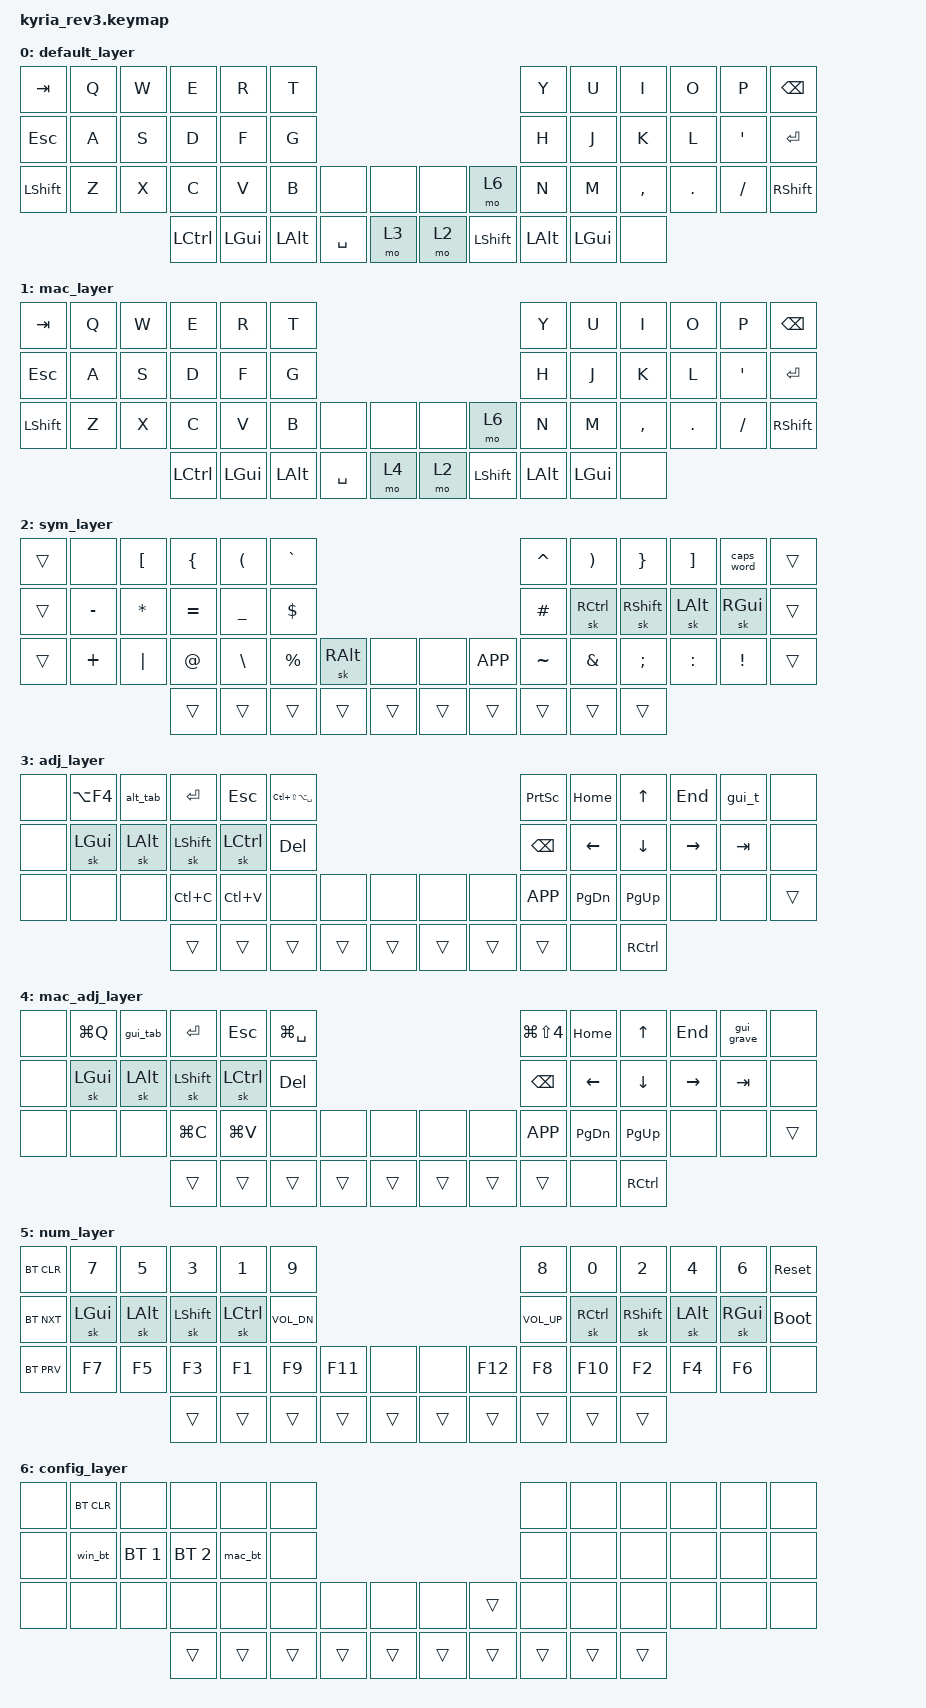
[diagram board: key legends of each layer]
/*
 * Copyright (c) 2023 The ZMK Contributors
 *
 * SPDX-License-Identifier: MIT
 */

#include <behaviors.dtsi>
#include <dt-bindings/zmk/bt.h>
#include <dt-bindings/zmk/keys.h>

#define SPOT LC(LS(LA(SPACE)))

// Uncomment this block if using RGB
// &led_strip {
//     chain-length = <6>;
//     // chain-length = <31>; // Uncomment if using both per-key and underglow LEDs
//     // chain-length = <25>; // Uncomment if using only per-key LEDs.
// };

/ {
    behaviors {
        // Swapper for smart alt+tab
        alt_tab: alt_tab {
            compatible = "zmk,behavior-smart-toggle";
            #binding-cells = <0>;
            bindings = <&kp LALT>, <&kp TAB>;
            ignored-key-positions = <8 19 20 21 46>;
        };
        gui_t: gui_t {
            compatible = "zmk,behavior-smart-toggle";
            #binding-cells = <0>;
            bindings = <&kp LGUI>, <&kp T>;
            ignored-key-positions = <8 19 20 21 46>;
        };
        gui_tab: gui_tab {
            compatible = "zmk,behavior-smart-toggle";
            #binding-cells = <0>;
            bindings = <&kp LGUI>, <&kp TAB>;
            ignored-key-positions = <8 19 20 21 46>;
        };
        gui_grave: gui_grave {
            compatible = "zmk,behavior-smart-toggle";
            #binding-cells = <0>;
            bindings = <&kp LGUI>, <&kp GRAVE>;
            ignored-key-positions = <8 19 20 21 46>;
        };
    };

    conditional_layers {
        compatible = "zmk,conditional-layers";
        tri_layer {
            if-layers = <2 3>;
            then-layer = <5>;
        };

        mac_tri_layer {
            if-layers = <2 4>;
            then-layer = <5>;
        };
    };

    macros {
        win_bt: win_bt {
            label = "win_bt";
            compatible = "zmk,behavior-macro";
            #binding-cells = <0>;
            bindings
            = <&macro_tap &to 0>
            , <&macro_tap &bt BT_SEL 0>
            ;
        };

        mac_bt: mac_bt {
            label = "mac_bt";
            compatible = "zmk,behavior-macro";
            #binding-cells = <0>;
            bindings
            = <&macro_tap &to 1>
            , <&macro_tap &bt BT_SEL 3>
            ;
        };
    };

    keymap {
        compatible = "zmk,keymap";

        default_layer { // 0
           bindings = <
&kp TAB   &kp Q &kp W &kp E     &kp R    &kp T                                     &kp Y    &kp U    &kp I     &kp O   &kp P     &kp BSPC
&kp ESC   &kp A &kp S &kp D     &kp F    &kp G                                     &kp H    &kp J    &kp K     &kp L   &kp SQT   &kp ENTER
&kp LSHFT &kp Z &kp X &kp C     &kp V    &kp B    &none     &none  &none &mo 6     &kp N    &kp M    &kp COMMA &kp DOT &kp SLASH &kp RSHFT
                      &kp LCTRL &kp LGUI &kp LALT &kp SPACE &mo 3  &mo 2 &kp LSHFT &kp LALT &kp LGUI &none   
           >;
        };

        mac_layer { // 1
            bindings = <
&kp TAB   &kp Q &kp W &kp E     &kp R    &kp T                                     &kp Y    &kp U    &kp I     &kp O   &kp P     &kp BSPC
&kp ESC   &kp A &kp S &kp D     &kp F    &kp G                                     &kp H    &kp J    &kp K     &kp L   &kp SQT   &kp ENTER
&kp LSHFT &kp Z &kp X &kp C     &kp V    &kp B    &none     &none  &none &mo 6     &kp N    &kp M    &kp COMMA &kp DOT &kp SLASH &kp RSHFT
                      &kp LCTRL &kp LGUI &kp LALT &kp SPACE &mo 4  &mo 2 &kp LSHFT &kp LALT &kp LGUI &none   
            >;
        };

        sym_layer { // 2
            bindings = <
&trans &none     &kp LBKT  &kp LBRC  &kp LPAR  &kp GRAVE                                     &kp CARET  &kp RPAR  &kp RBRC  &kp RBKT  &caps_word &trans
&trans &kp MINUS &kp ASTRK &kp EQUAL &kp UNDER &kp DOLLAR                                    &kp HASH   &sk RCTRL &sk RSHFT &sk LALT  &sk RGUI   &trans
&trans &kp PLUS  &kp PIPE  &kp AT    &kp BSLH  &kp PERCENT &sk RALT &none   &none  &kp K_APP &kp TILDE  &kp AMPS  &kp SEMI  &kp COLON &kp EXCL   &trans
	                   &trans    &trans    &trans      &trans   &trans  &trans &trans    &trans     &trans    &trans   
            >;
        };

        adj_layer { // 3
            bindings = <
&none &kp LA(F4) &alt_tab  &kp ENTER &kp ESC   &kp SPOT                              &kp PSCRN &kp HOME  &kp UP     &kp END   &gui_t  &none
&none &sk LGUI   &sk LALT  &sk LSHFT &sk LCTRL &kp DEL                               &kp BSPC  &kp LEFT  &kp DOWN   &kp RIGHT &kp TAB &none
&none &none      &none     &kp LC(C) &kp LC(V) &none    &none  &none   &none  &none  &kp K_APP &kp PG_DN &kp PG_UP  &none     &none   &trans
                           &trans    &trans    &trans   &trans &trans  &trans &trans &trans    &none     &kp RCTRL   
            >;
        };

        mac_adj_layer { // 4
            bindings = <
&none &kp LG(Q) &gui_tab  &kp ENTER &kp ESC   &kp LG(SPACE)                           &kp LG(LS(4)) &kp HOME  &kp UP     &kp END   &gui_grave &none
&none &sk LGUI  &sk LALT  &sk LSHFT &sk LCTRL &kp DEL                                 &kp BSPC      &kp LEFT  &kp DOWN   &kp RIGHT &kp TAB    &none
&none &none     &none     &kp LG(C) &kp LG(V) &none      &none  &none   &none  &none  &kp K_APP     &kp PG_DN &kp PG_UP  &none     &none      &trans
                          &trans    &trans    &trans     &trans &trans  &trans &trans &trans        &none     &kp  RCTRL   
            >;
        };

        num_layer { // 5
            bindings = <
&bt BT_CLR  &kp N7   &kp N5   &kp N3    &kp N1    &kp N9                                      &kp N8         &kp N0    &kp N2    &kp N4   &kp N6   &sys_reset
&bt BT_NXT  &sk LGUI &sk LALT &sk LSHFT &sk LCTRL &kp C_VOL_DN                                &kp C_VOL_UP   &sk RCTRL &sk RSHFT &sk LALT &sk RGUI &bootloader
&bt BT_PRV  &kp F7   &kp F5   &kp F3    &kp F1    &kp F9       &kp F11 &none   &none  &kp F12 &kp F8 &kp F10 &kp F2    &kp F4    &kp F6   &none
                              &trans    &trans    &trans       &trans  &trans  &trans &trans  &trans &trans  &trans
            >;
        };

        config_layer { // 6
            bindings = <
&none &bt BT_CLR &none        &none        &none   &none                               &none  &none  &none &none &none &none
&none &win_bt    &bt BT_SEL 1 &bt BT_SEL 2 &mac_bt &none                               &none  &none  &none &none &none &none
&none &none      &none        &none        &none   &none  &none  &none   &none  &trans &none  &none  &none &none &none &none 
                              &trans       &trans  &trans &trans &trans  &trans &trans &trans &trans &trans
            >;
        };
    };
};
